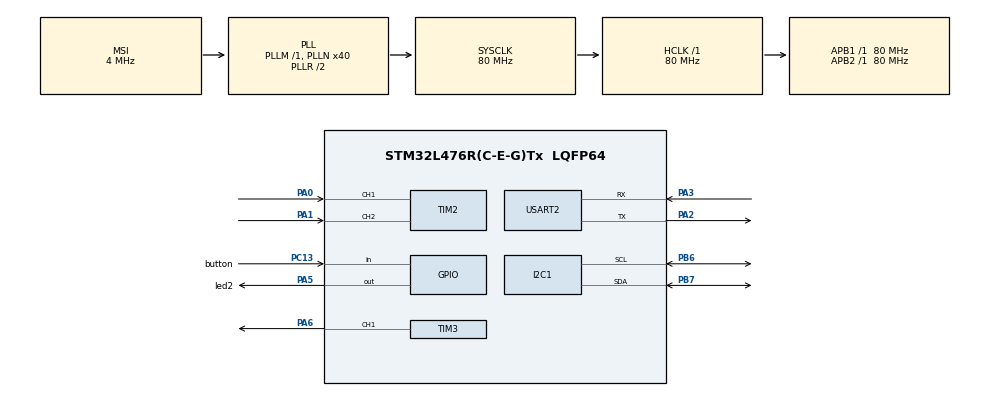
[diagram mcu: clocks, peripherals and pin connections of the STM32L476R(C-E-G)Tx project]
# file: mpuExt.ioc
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I2C1.Timing=0x10D19CE4
Mcu.Family=STM32L4
Mcu.Name=STM32L476R(C-E-G)Tx
Mcu.Package=LQFP64
NVIC.PriorityGroup=NVIC_PRIORITYGROUP_4
NVIC.TIM6_DAC_IRQn=true\:10\:0\:true\:false\:true\:true\:true\:true
PA0.Signal=S_TIM2_CH1
PA1.Signal=S_TIM2_CH2
PA13\ (JTMS-SWDIO).Mode=Serial_Wire
PA13\ (JTMS-SWDIO).Signal=SYS_JTMS-SWDIO
PA14\ (JTCK-SWCLK).Mode=Serial_Wire
PA14\ (JTCK-SWCLK).Signal=SYS_JTCK-SWCLK
PA2.Mode=Asynchronous
PA2.Signal=USART2_TX
PA3.Mode=Asynchronous
PA3.Signal=USART2_RX
PA5.GPIO_Label=led2
PA5.Signal=GPIO_Output
PA6.Signal=S_TIM3_CH1
PB6.Mode=I2C
PB6.Signal=I2C1_SCL
PB7.Mode=I2C
PB7.Signal=I2C1_SDA
PC13.GPIO_Label=button
PC13.Signal=GPIO_Input
ProjectManager.HeapSize=0x200
ProjectManager.StackSize=0x400
ProjectManager.TargetToolchain=STM32CubeIDE
RCC.AHBFreq_Value=80000000
RCC.APB1Freq_Value=80000000
RCC.APB1TimFreq_Value=80000000
RCC.APB2Freq_Value=80000000
RCC.APB2TimFreq_Value=80000000
RCC.CortexFreq_Value=80000000
RCC.HCLKFreq_Value=80000000
RCC.HSE_VALUE=8000000
RCC.HSI_VALUE=16000000
RCC.LSE_VALUE=32768
RCC.MSI_VALUE=4000000
RCC.PLLN=40
RCC.SYSCLKFreq_VALUE=80000000
RCC.SYSCLKSource=RCC_SYSCLKSOURCE_PLLCLK
RCC.VCOOutputFreq_Value=160000000
SH.S_TIM2_CH1.0=TIM2_CH1,Encoder_Interface
SH.S_TIM2_CH2.0=TIM2_CH2,Encoder_Interface
SH.S_TIM3_CH1.0=TIM3_CH1,PWM Generation1 CH1
TIM3.Channel-PWM\ Generation1\ CH1=TIM_CHANNEL_1
TIM3.Period=20000-1
TIM3.Prescaler=80-1
TIM6.Period=100-1
TIM6.Prescaler=8000-1
USART2.VirtualMode-Asynchronous=VM_ASYNC
VP_TIM3_VS_ClockSourceINT.Mode=Internal
VP_TIM6_VS_ClockSourceINT.Mode=Enable_Timer
board=custom

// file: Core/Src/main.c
/* USER CODE BEGIN Header */
/**
  ******************************************************************************
  * @file           : main.c
  * @brief          : Main program body
  ******************************************************************************
  * @attention
  *
  * Copyright (c) 2025 STMicroelectronics.
  * All rights reserved.
  *
  * This software is licensed under terms that can be found in the LICENSE file
  * in the root directory of this software component.
  * If no LICENSE file comes with this software, it is provided AS-IS.
  *
  ******************************************************************************
  */
/* USER CODE END Header */
#include "main.h"
#include "i2c.h"
#include "tim.h"
#include "usart.h"
#include "gpio.h"

/* USER CODE BEGIN Includes */

#include <stdio.h>
#include "mpu6050.h"

/* USER CODE END Includes */

void SystemClock_Config(void);

/* USER CODE BEGIN 0 */

#define DT 0.01f

float accel[3], gyro[3], roll[3];
float dGyro, angle;
int16_t accelBias[3], gyroBias[3];
volatile uint8_t dataReady = 0;
int16_t encoderValue;
int16_t pwmValue, throttle, lqrOutput;
uint8_t estop = 0;
float eAccum = 0;

int __io_putchar(int ch){
	if(ch=='\n'){
		__io_putchar('\r');
	}
	HAL_UART_Transmit(&huart2, (uint8_t*)&ch, 1, HAL_MAX_DELAY);
	return 1;
}

int16_t control(float setAngle){
	float Kp = 5.0f;
	float Ki = 15.0f;
	float Kd = 0.5f;

	float e = setAngle - angle;
	eAccum = eAccum + e * DT;

	//Anty-windup
	if(eAccum > 22.0f){eAccum = 22.0f;}
	if(eAccum < 0.0f){eAccum = 0.0f;}
	if (estop == 1){eAccum = 0.0f;}
	if (encoderValue == 0){eAccum = 0.0f;}

	float P = Kp * e;
	float I = Ki * eAccum;
	float D = -1 * Kd * dGyro;

	float u = P+I+D;
	return (int16_t)u;
}

int16_t lqr(){
	float k1 = 31.6227766;
	float k2 = 31.36357997;
	float u1 = -k1 * ((angle * 0.01745329f) - 1.570796f);
	float u2 = -k2 * (dGyro * 0.01745329f);
	float u = u1 + u2 + 238.0f;
	return (int16_t)u;
}

void HAL_TIM_PeriodElapsedCallback(TIM_HandleTypeDef *htim){
	if(htim == &htim6){
		//
		// Readig data from MPU6050
		//

		mpu6050_ReadRoll(roll, &dGyro, accel, gyro);
		angle = roll[2]+90.f;
		//mpu6050_ReadRawBias(accelBias, gyroBias); // For reading biases

		//
		// Reading encoder value
		//

		encoderValue = __HAL_TIM_GET_COUNTER(&htim2);
		if(encoderValue < 0){encoderValue = 0;}
		if(encoderValue > 1000){encoderValue = 1000;}

		//
		// Safety stop
		//

		// Estop reset
		if((HAL_GPIO_ReadPin(button_GPIO_Port, button_Pin) == GPIO_PIN_RESET) && encoderValue == 0 && angle < 30){estop=0;}

		// Estop
		if(angle > 170.0f){estop=1;}

		//
		// Regulators - choose PID or LQR
		//

		if(encoderValue > 170){encoderValue = 170;}
		float setAngle = (float)encoderValue;

		// PID

		pwmValue = 160 + control(setAngle);

		// LQR

		//pwmValue = 160 + lqr();
		//lqrOutput = pwmValue;

		//
		// Motor manual controll
		//

		//pwmValue = 160 + encoderValue; - for manual motor control

		//
		// BLDC Motor controll
		//

		if(pwmValue < 160){pwmValue = 160;}
		if(pwmValue > 500){pwmValue = 500;}

		if((estop == 0) && encoderValue > 0){throttle = 1000+pwmValue;}
		else{throttle = 1000;}

		__HAL_TIM_SET_COMPARE(&htim3, TIM_CHANNEL_1, throttle);

		//
		// Setting flag to main (for sending data via UART)
		//

		dataReady = 1;
	}
}

/* USER CODE END 0 */

int main(void)
{

  /* MCU Configuration--------------------------------------------------------*/

  /* Reset of all peripherals, Initializes the Flash interface and the Systick. */
  HAL_Init();

  /* Configure the system clock */
  SystemClock_Config();

  /* Initialize all configured peripherals */
  MX_GPIO_Init();
  MX_I2C1_Init();
  MX_USART2_UART_Init();
  MX_TIM6_Init();
  MX_TIM2_Init();
  MX_TIM3_Init();

  /* Infinite loop */
  /* USER CODE BEGIN WHILE */

  // Encoder Init
  HAL_TIM_Encoder_Start(&htim2, TIM_CHANNEL_ALL);

  // PWM Output Init
  HAL_TIM_Base_Start_IT(&htim3);
  HAL_TIM_PWM_Start(&htim3, TIM_CHANNEL_1);
  __HAL_TIM_SET_COMPARE(&htim3, TIM_CHANNEL_1, 1000);

  // MPU6050 Init
  HAL_Delay(1000);
  mpu6050_Init();
  HAL_Delay(1000);

  // Callback Timer
  HAL_TIM_Base_Start_IT(&htim6);

  // Setting Ready LED
  HAL_GPIO_WritePin(led2_GPIO_Port, led2_Pin, GPIO_PIN_SET);

  while (1)
  {
	//
	// Telemetry via UART
	//
	if(dataReady==1){
		printf(">GyroX:%f\n", gyro[0]);
		printf(">GyroY:%f\n", gyro[1]);
		printf(">GyroZ:%f\n", gyro[2]);

		printf(">AccelX:%f\n", accel[0]);
		printf(">AccelY:%f\n", accel[1]);
		printf(">AccelZ:%f\n", accel[2]);

		printf(">RollAcc:%f\n", roll[0]);
		printf(">RollGyro:%f\n", roll[1]);
		printf(">RollFused:%f\n", roll[2]);

		printf(">Angle:%f\n", angle);
		printf(">Encoder:%d\n", encoderValue);
		printf(">Estop:%d\n", estop);
		printf(">Pwm:%d\n", pwmValue);
		printf(">throttle:%d\n", throttle);
		printf(">eAccum:%f\n", eAccum);
		printf(">lqrOutput:%d\n", lqrOutput);

		dataReady = 0;
	}
    /* USER CODE END WHILE */

  }
}

void SystemClock_Config(void)
{
  RCC_OscInitTypeDef RCC_OscInitStruct = {0};
  RCC_ClkInitTypeDef RCC_ClkInitStruct = {0};

  /** Configure the main internal regulator output voltage
  */
  if (HAL_PWREx_ControlVoltageScaling(PWR_REGULATOR_VOLTAGE_SCALE1) != HAL_OK)
  {
    Error_Handler();
  }

  /** Initializes the RCC Oscillators according to the specified parameters
  * in the RCC_OscInitTypeDef structure.
  */
  RCC_OscInitStruct.OscillatorType = RCC_OSCILLATORTYPE_MSI;
  RCC_OscInitStruct.MSIState = RCC_MSI_ON;
  RCC_OscInitStruct.MSICalibrationValue = 0;
  RCC_OscInitStruct.MSIClockRange = RCC_MSIRANGE_6;
  RCC_OscInitStruct.PLL.PLLState = RCC_PLL_ON;
  RCC_OscInitStruct.PLL.PLLSource = RCC_PLLSOURCE_MSI;
  RCC_OscInitStruct.PLL.PLLM = 1;
  RCC_OscInitStruct.PLL.PLLN = 40;
  RCC_OscInitStruct.PLL.PLLP = RCC_PLLP_DIV7;
  RCC_OscInitStruct.PLL.PLLQ = RCC_PLLQ_DIV2;
  RCC_OscInitStruct.PLL.PLLR = RCC_PLLR_DIV2;
  if (HAL_RCC_OscConfig(&RCC_OscInitStruct) != HAL_OK)
  {
    Error_Handler();
  }

  /** Initializes the CPU, AHB and APB buses clocks
  */
  RCC_ClkInitStruct.ClockType = RCC_CLOCKTYPE_HCLK|RCC_CLOCKTYPE_SYSCLK
                              |RCC_CLOCKTYPE_PCLK1|RCC_CLOCKTYPE_PCLK2;
  RCC_ClkInitStruct.SYSCLKSource = RCC_SYSCLKSOURCE_PLLCLK;
  RCC_ClkInitStruct.AHBCLKDivider = RCC_SYSCLK_DIV1;
  RCC_ClkInitStruct.APB1CLKDivider = RCC_HCLK_DIV1;
  RCC_ClkInitStruct.APB2CLKDivider = RCC_HCLK_DIV1;

  if (HAL_RCC_ClockConfig(&RCC_ClkInitStruct, FLASH_LATENCY_4) != HAL_OK)
  {
    Error_Handler();
  }
}

void Error_Handler(void)
{
  __disable_irq();
  while (1)
  {
  }
}
